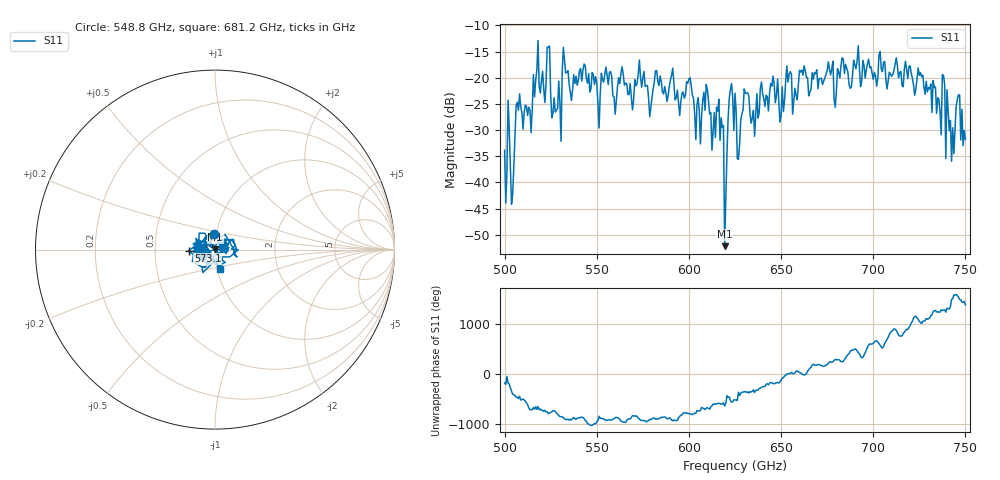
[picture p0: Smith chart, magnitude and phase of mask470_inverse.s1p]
!Created with skrf (http://scikit-rf.org).
# GHz S MA R 50.0
!freq magS11 angS11
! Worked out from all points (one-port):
!   401 points, 500 GHz to 750 GHz, reference 50 ohm
!   lowest |S11| = -52.2 dB at 619.4 GHz (marker M1), VSWR 1.00, Z = 50 + j0.244 ohm
!   |S11| at or under -10 dB: start of sweep to end of sweep
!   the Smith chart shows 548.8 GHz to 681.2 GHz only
!   S11 on the Smith chart (normalised r, x): 548.8 GHz: 0.98, +0.17; 573.1 GHz: 0.74, -0.01; 681.2 GHz: 1.03, -0.23
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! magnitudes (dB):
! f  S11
! 500 GHz  -33.9
! 504.4 GHz  -42.2
! 507.5 GHz  -26.2
! 513.8 GHz  -26.2
! 516.9 GHz  -20.5
! 523.8 GHz  -14.2
! 526.9 GHz  -23.8
! 531.2 GHz  -18.7
! 548.8 GHz  -21.3
! 562.5 GHz  -21.1
! 573.1 GHz  -16.6
! 593.8 GHz  -22.4
! 609.4 GHz  -21.3
! 617.5 GHz  -27.7
! 619.4 GHz  -52.2
! 622.5 GHz  -22.2
! 625 GHz  -23.0
! 627.5 GHz  -32.6
! 631.2 GHz  -22.9
! 635 GHz  -26.2
! 656.2 GHz  -27.0
! 681.2 GHz  -18.9
! 687.5 GHz  -22.0
! 718.8 GHz  -20.2
! 738.8 GHz  -21.2
! 742.5 GHz  -36.0
! 746.9 GHz  -23.3
! 750 GHz  -31.8
